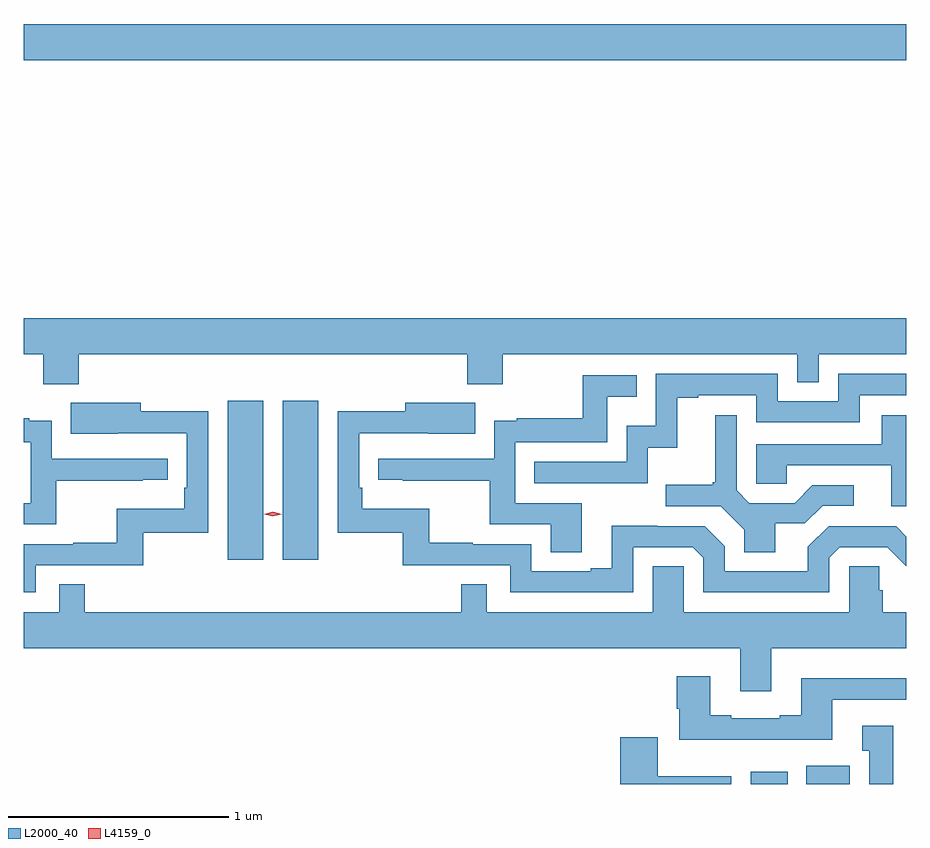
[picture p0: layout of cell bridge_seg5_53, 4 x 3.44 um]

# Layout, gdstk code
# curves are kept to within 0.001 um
import gdstk
lib = gdstk.Library(unit=1e-6, precision=1e-09)
def R(c, l, rs):  # rectangles x0, y0, x1, y1
    for r in rs: c.add(gdstk.rectangle(r[:2], r[2:], *l))
def P(c, l, *ps):  # polygons
    for p in ps: c.add(gdstk.Polygon(p, *l))
L2000_40 = (2000, 40)
L4159_0 = (4159, 0)

bridge_seg5_53 = lib.new_cell('bridge_seg5_53')
R(bridge_seg5_53, L2000_40, [(847.019,876.125,847.186,876.181), (847.271,876.125,847.468,876.208), (844.649,877.14,844.81,877.861), (844.898,877.14,845.059,877.861), (843.724,879.404,847.724,879.568)])
P(bridge_seg5_53, L2000_40, [(843.974,878.072),(845.735,878.072),(845.735,877.937),(845.895,877.937),(845.895,878.072),(847.23,878.072),(847.23,877.945),(847.326,877.945),(847.326,878.072),(847.724,878.072),(847.724,878.236),(843.724,878.236),(843.724,878.072),(843.814,878.072),(843.814,877.937),(843.974,877.937)],
  [(846.552,877.649),(846.685,877.649),(846.685,877.875),(846.781,877.875),(846.781,877.887),(847.044,877.887),(847.044,877.764),(847.512,877.764),(847.512,877.887),(847.724,877.887),(847.724,877.983),(847.416,877.983),(847.416,877.86),(847.14,877.86),(847.14,877.983),(846.588,877.983),(846.588,877.747),(846.456,877.747),(846.456,877.584),(846.037,877.584),(846.037,877.488),(846.552,877.488)],
  [(846.253,877.398),(845.952,877.398),(845.952,877.674),(846.369,877.674),(846.369,877.88),(846.503,877.88),(846.503,877.977),(846.258,877.977),(846.258,877.783),(845.959,877.783),(845.959,877.771),(845.856,877.771),(845.856,877.599),(845.331,877.599),(845.331,877.503),(845.443,877.503),(845.443,877.498),(845.836,877.498),(845.836,877.302),(846.113,877.302),(846.113,877.174),(846.253,877.174)],
  [(846.486,877.197),(846.756,877.197),(846.804,877.149),(846.804,876.993),(847.374,876.993),(847.374,877.149),(847.422,877.197),(847.638,877.197),(847.724,877.111),(847.724,877.246),(847.677,877.293),(847.371,877.293),(847.277,877.199),(847.277,877.089),(846.9,877.089),(846.9,877.203),(846.81,877.293),(846.594,877.293),(846.594,877.295),(846.389,877.295),(846.389,877.102),(846.293,877.102),(846.293,877.089),(846.024,877.089),(846.024,877.212),(845.759,877.212),(845.759,877.217),(845.563,877.217),(845.563,877.372),(845.258,877.372),(845.258,877.468),(845.244,877.468),(845.244,877.713),(845.771,877.712),(845.771,877.852),(845.453,877.852),(845.453,877.814),(845.148,877.814),(845.148,877.263),(845.442,877.263),(845.442,877.116),(845.928,877.116),(845.928,876.993),(846.486,876.993)],
  [(843.78,877.116),(844.267,877.116),(844.267,877.263),(844.56,877.263),(844.56,877.814),(844.255,877.814),(844.255,877.852),(843.937,877.852),(843.937,877.712),(844.151,877.712),(844.151,877.713),(844.464,877.713),(844.464,877.468),(844.451,877.468),(844.451,877.372),(844.146,877.372),(844.146,877.217),(843.949,877.217),(843.949,877.212),(843.724,877.212),(843.724,876.993),(843.78,876.993)],
  [(847.129,877.306),(847.264,877.306),(847.344,877.386),(847.486,877.386),(847.486,877.479),(847.298,877.479),(847.217,877.398),(847.011,877.398),(846.954,877.455),(846.954,877.795),(846.857,877.795),(846.857,877.492),(846.846,877.492),(846.846,877.48),(846.633,877.48),(846.633,877.383),(846.882,877.383),(846.989,877.276),(846.989,877.174),(847.129,877.174)],
  [(847.724,877.795),(847.613,877.795),(847.613,877.665),(847.044,877.665),(847.044,877.485),(847.181,877.485),(847.181,877.569),(847.655,877.569),(847.655,877.383),(847.724,877.383)],
  [(843.872,877.498),(844.265,877.498),(844.265,877.503),(844.378,877.503),(844.378,877.599),(843.852,877.599),(843.852,877.771),(843.749,877.771),(843.749,877.783),(843.724,877.783),(843.724,877.674),(843.756,877.674),(843.756,877.398),(843.724,877.398),(843.724,877.302),(843.872,877.302)],
  [(847.111,876.74),(847.724,876.74),(847.724,876.904),(847.616,876.904),(847.616,877.002),(847.601,877.002),(847.601,877.112),(847.464,877.112),(847.464,876.904),(846.714,876.904),(846.714,877.112),(846.575,877.112),(846.575,876.904),(845.823,876.904),(845.823,877.031),(845.707,877.031),(845.707,876.904),(844.001,876.904),(844.001,877.031),(843.885,877.031),(843.885,876.904),(843.724,876.904),(843.724,876.74),(846.971,876.74),(846.971,876.546),(847.111,876.546)],
  [(847.387,876.507),(847.724,876.507),(847.724,876.604),(847.247,876.604),(847.247,876.436),(847.151,876.436),(847.151,876.423),(846.931,876.423),(846.931,876.436),(846.835,876.436),(846.835,876.613),(846.683,876.613),(846.683,876.465),(846.695,876.465),(846.695,876.326),(847.387,876.326)],
  [(847.663,876.388),(847.523,876.388),(847.523,876.275),(847.556,876.275),(847.556,876.125),(847.663,876.125)],
  [(846.931,876.16),(846.598,876.16),(846.598,876.337),(846.428,876.337),(846.428,876.125),(846.931,876.125)])
P(bridge_seg5_53, L4159_0, [(844.854,877.338),(844.814,877.348),(844.814,877.348),(844.814,877.348),(844.854,877.358),(844.894,877.348),(844.894,877.348),(844.894,877.347)])

lib.write_gds('bridge_seg5_53.gds')
